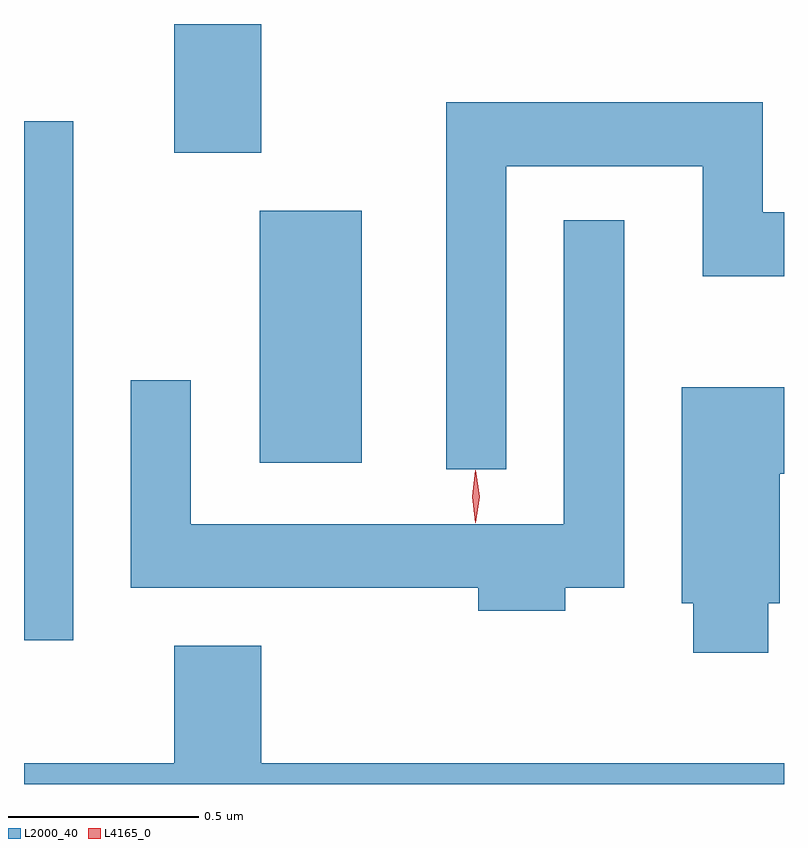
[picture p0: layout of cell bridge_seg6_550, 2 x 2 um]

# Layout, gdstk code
import gdstk
lib = gdstk.Library(unit=1e-6, precision=1e-09)
def R(c, l, rs):  # rectangles x0, y0, x1, y1
    for r in rs: c.add(gdstk.rectangle(r[:2], r[2:], *l))
def P(c, l, *ps):  # polygons
    for p in ps: c.add(gdstk.Polygon(p, *l))
L2000_40 = (2000, 40)
L4165_0 = (4165, 0)

bridge_seg6_550 = lib.new_cell('bridge_seg6_550')
R(bridge_seg6_550, L2000_40, [(528.775,1650.528,528.904,1651.894), (529.396,1650.996,529.664,1651.659), (529.171,1651.811,529.399,1652.15)])
P(bridge_seg6_550, L2000_40, [(530.044,1651.776),(530.561,1651.776),(530.561,1651.486),(530.775,1651.486),(530.775,1651.654),(530.719,1651.654),(530.719,1651.944),(529.886,1651.944),(529.886,1650.978),(530.044,1650.978)],
  [(530.199,1650.666),(530.354,1650.666),(530.354,1651.633),(530.196,1651.633),(530.196,1650.834),(529.214,1650.834),(529.214,1651.213),(529.056,1651.213),(529.056,1650.666),(529.971,1650.666),(529.971,1650.606),(530.199,1650.606)],
  [(530.734,1650.626),(530.764,1650.626),(530.764,1650.966),(530.775,1650.966),(530.775,1651.194),(530.506,1651.194),(530.506,1650.626),(530.536,1650.626),(530.536,1650.496),(530.734,1650.496)],
  [(530.775,1650.204),(529.399,1650.204),(529.399,1650.514),(529.171,1650.514),(529.171,1650.204),(528.775,1650.204),(528.775,1650.15),(530.775,1650.15)])
P(bridge_seg6_550, L4165_0, [(529.964,1650.837),(529.963,1650.838),(529.954,1650.906),(529.963,1650.976),(529.964,1650.976),(529.964,1650.976),(529.974,1650.906),(529.964,1650.838)],
  [(529.964,1650.839),(529.963,1650.84),(529.954,1650.906),(529.963,1650.972),(529.964,1650.973),(529.964,1650.972),(529.974,1650.906),(529.964,1650.84)])

lib.write_gds('bridge_seg6_550.gds')
